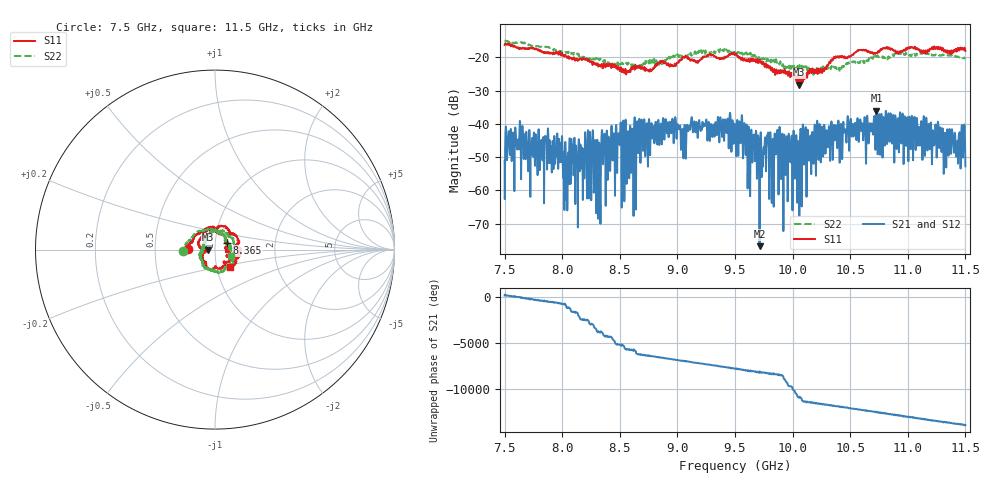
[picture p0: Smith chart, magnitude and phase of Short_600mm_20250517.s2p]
#  HZ  S  DB  R  50.00
! Rohde & Schwarz ZVA40 2Ports - Version 4.11 - 1145.1110k40 SN: 100216
! Date: 2025-05-18 21:18:21
! Measurements: S11 S21 S12 S22
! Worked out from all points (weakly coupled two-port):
!   5001 points, 7.5 GHz to 11.5 GHz, reference 50 ohm
!   highest |S21| = -36.04 dB at 10.73 GHz (marker M1); lowest = -76.7 dB at 9.713 GHz (marker M2)
!   lowest |S11| = -28.3 dB at 10.05 GHz (marker M3), VSWR 1.08, Z = 46.3 - j0.0414 ohm
!   |S11| at or under -10 dB: start of sweep to end of sweep
!   |S22| runs from -25.3 to -15.0 dB; largest |S21 - S12| = 0.0002
!   S11 on the Smith chart (normalised r, x): 7.5 GHz: 0.74, +0.01; 8.365 GHz: 1.14, +0.08; 11.5 GHz: 1.16, -0.22
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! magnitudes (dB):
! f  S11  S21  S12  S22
! 7.5 GHz  -16.3  -51.1  -51.0  -15.0
! 7.642 GHz  -17.5  -55.7  -55.6  -15.5
! 7.714 GHz  -17.6  -41.8  -41.8  -16.3
! 7.986 GHz  -19.4  -45.7  -45.7  -18.4
! 8.026 GHz  -19.3  -45.4  -45.5  -18.5
! 8.078 GHz  -20.2  -44.9  -45.0  -18.9
! 8.167 GHz  -20.7  -49.0  -49.0  -19.7
! 8.274 GHz  -21.7  -60.7  -60.8  -20.5
! 8.315 GHz  -22.8  -53.5  -53.4  -20.5
! 8.365 GHz  -22.3  -43.5  -43.5  -20.9
! 8.834 GHz  -22.0  -38.9  -38.9  -21.1
! 9.5 GHz  -19.3  -40.5  -40.4  -18.5
! 9.713 GHz  -20.8  -76.7  -75.4  -20.4
! 9.794 GHz  -23.1  -48.4  -48.4  -21.1
! 9.836 GHz  -23.9  -64.9  -65.2  -20.9
! 9.878 GHz  -24.0  -61.2  -60.9  -21.2
! 10.05 GHz  -28.3  -47.3  -47.2  -24.0
! 10.17 GHz  -24.0  -43.1  -43.2  -24.2
! 10.73 GHz  -18.7  -36.0  -36.0  -19.9
! 10.83 GHz  -17.1  -37.0  -37.0  -19.8
! 11.48 GHz  -17.7  -48.5  -48.5  -20.3
! 11.5 GHz  -18.1  -52.8  -52.6  -20.3
